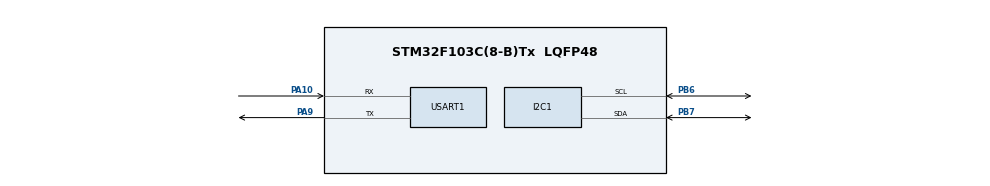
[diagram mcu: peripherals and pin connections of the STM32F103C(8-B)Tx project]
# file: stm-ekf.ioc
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I2C1.I2C_Mode=I2C_Standard
I2C1.NoStretchMode=I2C_NOSTRETCH_DISABLE
Mcu.Family=STM32F1
Mcu.Name=STM32F103C(8-B)Tx
Mcu.Package=LQFP48
NVIC.PriorityGroup=NVIC_PRIORITYGROUP_4
PA10.Mode=Asynchronous
PA10.Signal=USART1_RX
PA9.Mode=Asynchronous
PA9.Signal=USART1_TX
PB6.Mode=I2C
PB6.Signal=I2C1_SCL
PB7.Mode=I2C
PB7.Signal=I2C1_SDA
ProjectManager.HeapSize=0x200
ProjectManager.StackSize=0x400
ProjectManager.TargetToolchain=Makefile
RCC.APB1Freq_Value=8000000
RCC.APB2Freq_Value=8000000
USART1.VirtualMode=VM_ASYNC
VP_SYS_VS_ND.Mode=No_Debug
board=custom

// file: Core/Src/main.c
/* USER CODE BEGIN Header */
/**
  ******************************************************************************
  * @file           : main.c
  * @brief          : Main program body
  ******************************************************************************
  * @attention
  *
  * Copyright (c) 2023 STMicroelectronics.
  * All rights reserved.
  *
  * This software is licensed under terms that can be found in the LICENSE file
  * in the root directory of this software component.
  * If no LICENSE file comes with this software, it is provided AS-IS.
  *
  ******************************************************************************
  */
/* USER CODE END Header */
#include "main.h"

/* USER CODE BEGIN Includes */
#include "BNO_055_Drivers.h"
#include "ekf.h"

/* USER CODE END Includes */

I2C_HandleTypeDef hi2c1;

UART_HandleTypeDef huart1;

void SystemClock_Config(void);
static void MX_GPIO_Init(void);
static void MX_I2C1_Init(void);
static void MX_USART1_UART_Init(void);

/* USER CODE BEGIN 0 */
char buf[256] = {"\0"};
/* USER CODE END 0 */

int main(void)
{

  /* MCU Configuration--------------------------------------------------------*/

  /* Reset of all peripherals, Initializes the Flash interface and the Systick. */
  HAL_Init();

  /* Configure the system clock */
  SystemClock_Config();

  /* Initialize all configured peripherals */
  MX_GPIO_Init();
  MX_I2C1_Init();
  MX_USART1_UART_Init();
  /* USER CODE BEGIN 2 */
  sprintf((char *)buf, "Hello World!\n\r");
  HAL_UART_Transmit(&huart1, buf, sizeof(buf), HAL_MAX_DELAY);

  FilterCtx_TypeDef ctx;
  IMU_TypeDef imu;
  imu.acc_data[0] = 0.0;
  imu.i2c = &hi2c1;
  imu.huart = &huart1;

  ctx.imu = &imu;
  ctx.uart = &huart1;

  bno_055_init(ctx.imu);
  sprintf((char *)buf, "debug: initializing filter\n\r");
  HAL_UART_Transmit(&huart1, buf, sizeof(buf), HAL_MAX_DELAY);

  init_filter(&ctx);
  /* sprintf((char *)buf, "debug: finished filter init\n\r"); */
  /* HAL_UART_Transmit(&huart1, buf, sizeof(buf), HAL_MAX_DELAY); */

  read_imu(&imu);
  /* USER CODE END 2 */

  /* Infinite loop */
  /* USER CODE BEGIN WHILE */
  while (1)
  {
      filter_runOnce(&ctx, 0.01);
      HAL_Delay(10);
    /* USER CODE END WHILE */

  }
}

void SystemClock_Config(void)
{
  RCC_OscInitTypeDef RCC_OscInitStruct = {0};
  RCC_ClkInitTypeDef RCC_ClkInitStruct = {0};

  /** Initializes the RCC Oscillators according to the specified parameters
  * in the RCC_OscInitTypeDef structure.
  */
  RCC_OscInitStruct.OscillatorType = RCC_OSCILLATORTYPE_HSI;
  RCC_OscInitStruct.HSIState = RCC_HSI_ON;
  RCC_OscInitStruct.HSICalibrationValue = RCC_HSICALIBRATION_DEFAULT;
  RCC_OscInitStruct.PLL.PLLState = RCC_PLL_NONE;
  if (HAL_RCC_OscConfig(&RCC_OscInitStruct) != HAL_OK)
  {
    Error_Handler();
  }

  /** Initializes the CPU, AHB and APB buses clocks
  */
  RCC_ClkInitStruct.ClockType = RCC_CLOCKTYPE_HCLK|RCC_CLOCKTYPE_SYSCLK
                              |RCC_CLOCKTYPE_PCLK1|RCC_CLOCKTYPE_PCLK2;
  RCC_ClkInitStruct.SYSCLKSource = RCC_SYSCLKSOURCE_HSI;
  RCC_ClkInitStruct.AHBCLKDivider = RCC_SYSCLK_DIV1;
  RCC_ClkInitStruct.APB1CLKDivider = RCC_HCLK_DIV1;
  RCC_ClkInitStruct.APB2CLKDivider = RCC_HCLK_DIV1;

  if (HAL_RCC_ClockConfig(&RCC_ClkInitStruct, FLASH_LATENCY_0) != HAL_OK)
  {
    Error_Handler();
  }
}

static void MX_I2C1_Init(void)
{

  hi2c1.Instance = I2C1;
  hi2c1.Init.ClockSpeed = 100000;
  hi2c1.Init.DutyCycle = I2C_DUTYCYCLE_2;
  hi2c1.Init.OwnAddress1 = 0;
  hi2c1.Init.AddressingMode = I2C_ADDRESSINGMODE_7BIT;
  hi2c1.Init.DualAddressMode = I2C_DUALADDRESS_DISABLE;
  hi2c1.Init.OwnAddress2 = 0;
  hi2c1.Init.GeneralCallMode = I2C_GENERALCALL_DISABLE;
  hi2c1.Init.NoStretchMode = I2C_NOSTRETCH_DISABLE;
  if (HAL_I2C_Init(&hi2c1) != HAL_OK)
  {
    Error_Handler();
  }

}

static void MX_USART1_UART_Init(void)
{

  huart1.Instance = USART1;
  huart1.Init.BaudRate = 115200;
  huart1.Init.WordLength = UART_WORDLENGTH_8B;
  huart1.Init.StopBits = UART_STOPBITS_1;
  huart1.Init.Parity = UART_PARITY_NONE;
  huart1.Init.Mode = UART_MODE_TX_RX;
  huart1.Init.HwFlowCtl = UART_HWCONTROL_NONE;
  huart1.Init.OverSampling = UART_OVERSAMPLING_16;
  if (HAL_UART_Init(&huart1) != HAL_OK)
  {
    Error_Handler();
  }

}

static void MX_GPIO_Init(void)
{

  /* GPIO Ports Clock Enable */
  __HAL_RCC_GPIOA_CLK_ENABLE();
  __HAL_RCC_GPIOB_CLK_ENABLE();

}

void Error_Handler(void)
{
  /* USER CODE BEGIN Error_Handler_Debug */
  /* User can add his own implementation to report the HAL error return state */
  __disable_irq();
  sprintf((char *)buf, "big ole error\n\r");
  HAL_UART_Transmit(&huart1, buf, strlen((char *)buf), HAL_MAX_DELAY);
  while (1)
  {
  }
  /* USER CODE END Error_Handler_Debug */
}
